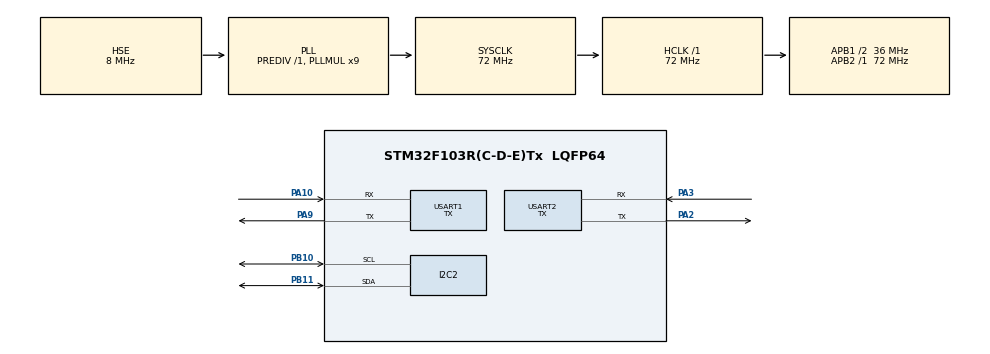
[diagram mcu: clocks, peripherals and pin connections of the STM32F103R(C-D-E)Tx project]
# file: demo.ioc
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I2C2.I2C_Mode=I2C_Standard
I2C2.NoStretchMode=I2C_NOSTRETCH_DISABLE
Mcu.Family=STM32F1
Mcu.Name=STM32F103R(C-D-E)Tx
Mcu.Package=LQFP64
NVIC.PriorityGroup=NVIC_PRIORITYGROUP_4
NVIC.USART1_IRQn=true\:0\:0\:false\:false\:true\:true\:true\:true
PA10.Mode=Asynchronous
PA10.Signal=USART1_RX
PA13.Mode=Serial_Wire
PA13.Signal=SYS_JTMS-SWDIO
PA14.Mode=Serial_Wire
PA14.Signal=SYS_JTCK-SWCLK
PA2.Mode=Asynchronous
PA2.Signal=USART2_TX
PA3.Mode=Asynchronous
PA3.Signal=USART2_RX
PA9.Mode=Asynchronous
PA9.Signal=USART1_TX
PB10.GPIO_Pu=GPIO_PULLUP
PB10.Mode=I2C
PB10.Signal=I2C2_SCL
PB11.GPIO_Pu=GPIO_PULLUP
PB11.Mode=I2C
PB11.Signal=I2C2_SDA
PD0-OSC_IN.Mode=HSE-External-Oscillator
PD0-OSC_IN.Signal=RCC_OSC_IN
PD1-OSC_OUT.Mode=HSE-External-Oscillator
PD1-OSC_OUT.Signal=RCC_OSC_OUT
ProjectManager.HeapSize=0x200
ProjectManager.StackSize=0x400
ProjectManager.TargetToolchain=MDK-ARM V5
RCC.AHBFreq_Value=72000000
RCC.APB1CLKDivider=RCC_HCLK_DIV2
RCC.APB1Freq_Value=36000000
RCC.APB1TimFreq_Value=72000000
RCC.APB2Freq_Value=72000000
RCC.APB2TimFreq_Value=72000000
RCC.HCLKFreq_Value=72000000
RCC.PLLMUL=RCC_PLL_MUL9
RCC.PLLSourceVirtual=RCC_PLLSOURCE_HSE
RCC.SYSCLKFreq_VALUE=72000000
RCC.SYSCLKSource=RCC_SYSCLKSOURCE_PLLCLK
RCC.USBFreq_Value=72000000
USART1.Mode=MODE_TX
USART1.VirtualMode=VM_ASYNC
USART2.Mode=MODE_TX
USART2.VirtualMode=VM_ASYNC
board=custom

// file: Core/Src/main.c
/* USER CODE BEGIN Header */
/**
 ******************************************************************************
 * @file           : main.c
 * @brief          : Main program body
 ******************************************************************************
 * @attention
 *
 * <h2><center>&copy; Copyright (c) 2022 STMicroelectronics.
 * All rights reserved.</center></h2>
 *
 * This software component is licensed by ST under BSD 3-Clause license,
 * the "License"; You may not use this file except in compliance with the
 * License. You may obtain a copy of the License at:
 *                        opensource.org/licenses/BSD-3-Clause
 *
 ******************************************************************************
 */
/* USER CODE END Header */
#include "main.h"
#include "i2c.h"
#include "usart.h"
#include "gpio.h"

/* USER CODE BEGIN Includes */
#include "tca9548a/tca9548a.h"

/* USER CODE END Includes */

void SystemClock_Config(void);

int main(void)
{

    /* MCU Configuration--------------------------------------------------------*/

    /* Reset of all peripherals, Initializes the Flash interface and the Systick. */
    HAL_Init();

    /* Configure the system clock */
    SystemClock_Config();

    /* Initialize all configured peripherals */
    MX_GPIO_Init();
    MX_USART1_UART_Init();
    MX_USART2_UART_Init();
    MX_I2C2_Init();

    /* Infinite loop */
    /* USER CODE BEGIN WHILE */

    tca9548a_scan();

    // 可同时选中多个通道（只要设备地址不冲突即可）
    tca9548a_select(TCA9548A_CHANNEL_0 | TCA9548A_CHANNEL_1 | TCA9548A_CHANNEL_2);

#if 1  // bme280 test

#define BME280_CHIP_ID 0xD0  // ID = 0x60

    struct i2c_cli bme280 = {
        .bus = tca9548a.bus,  // <----
        .drv = tca9548a.drv,
        .dev = 0x76 << 1,  // <----
        .ops = I2C_DEV_7BIT | I2C_REG_8BIT,
    };

    println("chip id = 0x%02x", i2cdev_get_byte(&bme280, BME280_CHIP_ID, 0x00));

#endif

    while (1) {
        HAL_Delay(10000);
        tca9548a_scan();

        /* USER CODE END WHILE */

    }
}

void SystemClock_Config(void)
{
    RCC_OscInitTypeDef RCC_OscInitStruct = {0};
    RCC_ClkInitTypeDef RCC_ClkInitStruct = {0};

    /** Initializes the RCC Oscillators according to the specified parameters
     * in the RCC_OscInitTypeDef structure.
     */
    RCC_OscInitStruct.OscillatorType     = RCC_OSCILLATORTYPE_HSE;
    RCC_OscInitStruct.HSEState           = RCC_HSE_ON;
    RCC_OscInitStruct.HSEPredivValue     = RCC_HSE_PREDIV_DIV1;
    RCC_OscInitStruct.HSIState           = RCC_HSI_ON;
    RCC_OscInitStruct.PLL.PLLState       = RCC_PLL_ON;
    RCC_OscInitStruct.PLL.PLLSource      = RCC_PLLSOURCE_HSE;
    RCC_OscInitStruct.PLL.PLLMUL         = RCC_PLL_MUL9;
    if (HAL_RCC_OscConfig(&RCC_OscInitStruct) != HAL_OK) {
        Error_Handler();
    }

    /** Initializes the CPU, AHB and APB buses clocks
     */
    RCC_ClkInitStruct.ClockType      = RCC_CLOCKTYPE_HCLK | RCC_CLOCKTYPE_SYSCLK | RCC_CLOCKTYPE_PCLK1 | RCC_CLOCKTYPE_PCLK2;
    RCC_ClkInitStruct.SYSCLKSource   = RCC_SYSCLKSOURCE_PLLCLK;
    RCC_ClkInitStruct.AHBCLKDivider  = RCC_SYSCLK_DIV1;
    RCC_ClkInitStruct.APB1CLKDivider = RCC_HCLK_DIV2;
    RCC_ClkInitStruct.APB2CLKDivider = RCC_HCLK_DIV1;

    if (HAL_RCC_ClockConfig(&RCC_ClkInitStruct, FLASH_LATENCY_2) != HAL_OK) {
        Error_Handler();
    }
}

void Error_Handler(void)
{
}
